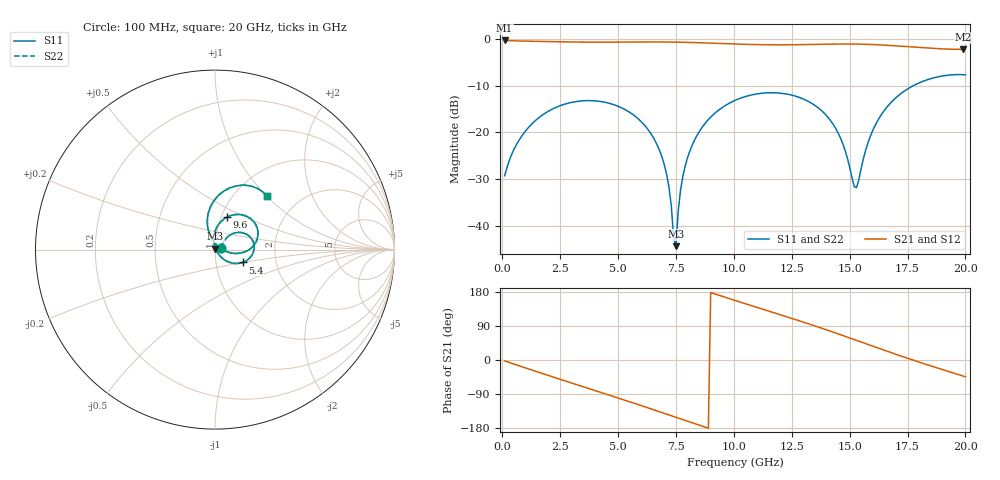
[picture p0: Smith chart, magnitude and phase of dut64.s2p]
! Touchstone file exported from HFSS 2026.1.0
!  File:  C:/ffzhzh/LocalFiles/Ansys_Project_Files/temp_train_TSV_RDL_64_1782968777_45308.aedt
!  Generated:  01:17:54 PM Jul  2, 2026
!  Design:  TSV_RDL
!  Project:  temp_train_TSV_RDL_64_1782968777_45308
! Variables:
!  h_bsmrdl = 3.48um
!  h_ox = 20um
!  h_rdl = 5um
!  h_sub = 50.07um
!  h_tmrdl = 3.66um
!  h_tsv = 50.07um
!  h_via = 3um
!  l_bsmrdl = 715.19um
!  l_sub = 6597.23um
!  l_tmrdl = 980.8um
!  m_sub = 200um
!  pitch = 31.32um
!  r_tsv = 13.82um
!  s_tmrdl = 10um
!  w_bsmrdl = 26.52um
!  w_sub = 500um
!  w_tmrdl = 16.3um
!  x_tsv_center1 = 988.95um
!  x_tsv_center2 = 1730.66um
!  x_tsv_center3 = 2727.76um
!  x_tsv_center4 = 3469.47um
!  x_tsv_center5 = 4466.57um
!  x_tsv_center6 = 5208.28um
# GHz S MA R 50.000000
! Terminal data exported
! Port[1] = TM_RDL1_1_T1
! Port[2] = TM_RDL5_1_T1
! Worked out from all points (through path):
!   200 points, 100 MHz to 20 GHz, reference 50 ohm
!   highest |S21| = -0.28 dB at 100 MHz (marker M1); lowest = -2.2 dB at 19.9 GHz (marker M2)
!   group delay of S21, straight-line fit = 56.2 ps
!   lowest |S11| = -44.4 dB at 7.5 GHz (marker M3), VSWR 1.01, Z = 50.3 + j0.544 ohm
!   |S11| at or under -10 dB: start of sweep to 17.74 GHz
!   |S22| runs from -44.0 to -7.6 dB; largest |S21 - S12| = 1.7e-14
!   S11 on the Smith chart (normalised r, x): 100 MHz: 1.07, +0.02; 5.4 GHz: 1.35, -0.20; 9.6 GHz: 1.06, +0.40; 20 GHz: 1.39, +1.00
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0.1  0.03431 19.5  0.9681 -2.3  0.9681 -2.3  0.03431 19.5
! Gamma 0 0 0 0
! Port Impedance 50 0 50 0
0.6  0.07317 44.0  0.9579 -12.8  0.9579 -12.8  0.07316 44.0
1.3  0.1249 43.0  0.9493 -27.0  0.9493 -27.0  0.1249 43.0
3.5  0.2183 9.8  0.929 -70.6  0.929 -70.6  0.2183 9.8
5.4  0.1702 -24.9  0.9307 -108.2  0.9307 -108.2  0.1702 -24.8
6.8  0.06322 -49.7  0.9329 -136.7  0.9329 -136.7  0.06319 -49.3
7.2  0.02569 -51.6  0.9311 -145.0  0.9311 -145.0  0.0257 -50.8
7.4  0.00735 -28.0  0.9297 -149.2  0.9297 -149.2  0.007542 -25.5
7.5  0.006021 64.1  0.9289 -151.2  0.9289 -151.2  0.006345 62.2
7.7  0.02417 97.6  0.9269 -155.4  0.9269 -155.4  0.0243 96.8
8.1  0.06321 96.3  0.9219 -163.6  0.9219 -163.6  0.0633 96.0
9.6  0.192 70.0  0.895 166.0  0.895 166.0  0.1921 69.8
10.1  0.2231 60.8  0.8859 156.2  0.8859 156.2  0.2231 60.7
11.8  0.2656 30.3  0.869 123.4  0.869 123.4  0.2656 30.3
13.4  0.2024 2.6  0.8774 92.0  0.8774 92.0  0.2024 2.6
14.5  0.09901 -11.6  0.8862 69.1  0.8862 69.1  0.09901 -11.5
15.3  0.02557 59.8  0.885 51.8  0.885 51.8  0.02588 59.7
15.9  0.09169 109.2  0.877 38.7  0.877 38.7  0.09187 108.9
16.7  0.1981 101.4  0.8568 21.4  0.8568 21.4  0.1982 101.2
18.1  0.3477 77.7  0.8096 -7.6  0.8096 -7.6  0.3478 77.6
19.9  0.4159 47.4  0.7769 -42.3  0.7769 -42.3  0.4159 47.3
20  0.4144 45.8  0.777 -44.3  0.777 -44.3  0.4145 45.6
